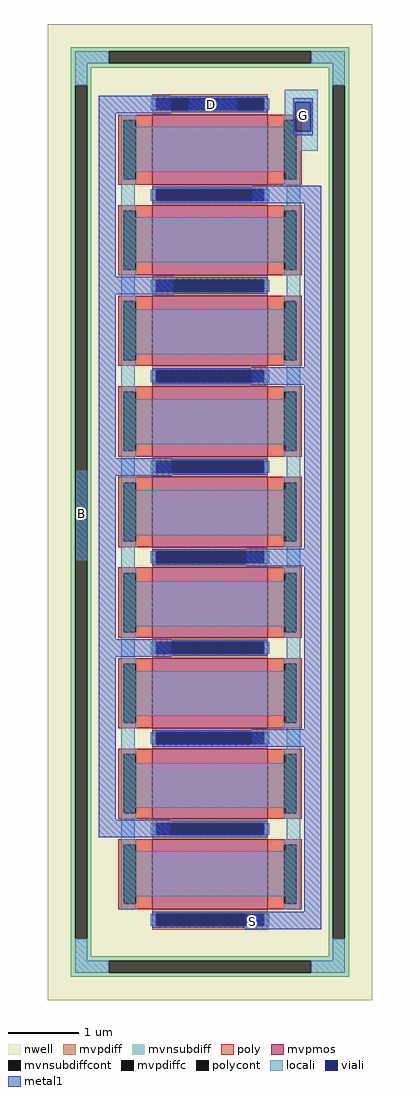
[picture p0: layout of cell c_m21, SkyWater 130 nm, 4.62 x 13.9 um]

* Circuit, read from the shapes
.subckt c_m21 D G S B
XM1 D G S B sky130_fd_pr__pfet_g5v0d10v5 w=1.65 l=1 m=9
.ends

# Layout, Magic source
magic
tech sky130A
magscale 1 2
<< locali >>
rect 610 2458 704 2494
rect 144 2388 182 2422
rect 610 2388 640 2458
rect 144 2376 640 2388
rect 684 2376 704 2458
rect 144 2320 704 2376
rect 144 2260 654 2320
rect 144 2131 182 2260
rect 616 2131 654 2260
rect 144 2003 654 2131
rect 144 1868 182 2003
rect 616 1868 654 2003
rect 144 1740 654 1868
rect 144 1612 182 1740
rect 616 1612 654 1740
rect 144 1484 654 1612
rect 16 1154 46 1408
rect 144 1353 182 1484
rect 616 1353 654 1484
rect 144 1225 654 1353
rect 144 1094 182 1225
rect 616 1094 654 1225
rect 144 966 654 1094
rect 144 838 182 966
rect 616 838 654 966
rect 144 710 654 838
rect 144 576 182 710
rect 616 576 654 710
rect 144 448 654 576
rect 144 324 182 448
rect 616 324 654 448
rect 144 196 654 324
rect 144 158 182 196
rect 616 158 654 196
<< viali >>
rect 640 2376 684 2458
<< metal1 >>
rect 80 2427 286 2477
rect 336 2436 474 2468
rect 634 2458 690 2470
rect 80 1961 128 2427
rect 634 2376 640 2458
rect 684 2376 690 2458
rect 634 2364 690 2376
rect 518 2170 714 2220
rect 80 1911 294 1961
rect 80 1444 128 1911
rect 666 1704 714 2170
rect 514 1654 714 1704
rect 80 1394 288 1444
rect 80 929 128 1394
rect 666 1187 714 1654
rect 500 1137 714 1187
rect 80 879 286 929
rect 80 414 128 879
rect 666 672 714 1137
rect 516 622 714 672
rect 80 364 284 414
rect 666 153 714 622
rect 497 103 714 153
rect 666 102 714 103
use sky130_fd_pr__pfet_g5v0d10v5_UQFRYG  sky130_fd_pr__pfet_g5v0d10v5_UQFRYG_0
transform 0 1 397 -1 0 1291
box -1390 -462 1390 462
<< labels >>
flabel metal1 400 2452 400 2452 0 FreeSans 800 0 0 0 D
port 0 nsew
flabel viali 664 2420 664 2420 0 FreeSans 800 0 0 0 G
port 1 nsew
flabel locali 30 1286 30 1286 0 FreeSans 800 0 0 0 B
port 3 nsew
flabel metal1 518 126 518 126 0 FreeSans 800 0 0 0 S
port 2 nsew
<< end >>

# cell sky130_fd_pr__pfet_g5v0d10v5_UQFRYG: kit device sky130_fd_pr__pfet_g5v0d10v5, w 1.65 l 1 m 1 nf 9 diffcov 100 polycov 100 guard 1 glc 1 grc 1 gtc 1 gbc 1 tbcov 100 rlcov 100 topc 1 botc 1 poverlap 0 doverlap 1 lmin 0.50 wmin 0.42 class mosfet compatible {sky130_fd_pr__pfet_01v8 sky130_fd_pr__pfet_01v8_lvt sky130_fd_pr__pfet_01v8_hvt sky130_fd_pr__pfet_g5v0d10v5} full_metal 1 conn_gates 0 viasrc 100 viadrn 100 viagate 100 viagb 0 viagr 0 viagl 0 viagt 0 doports 1
